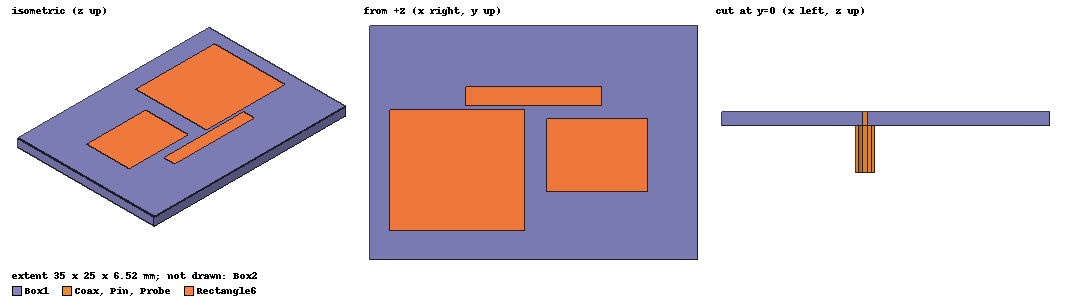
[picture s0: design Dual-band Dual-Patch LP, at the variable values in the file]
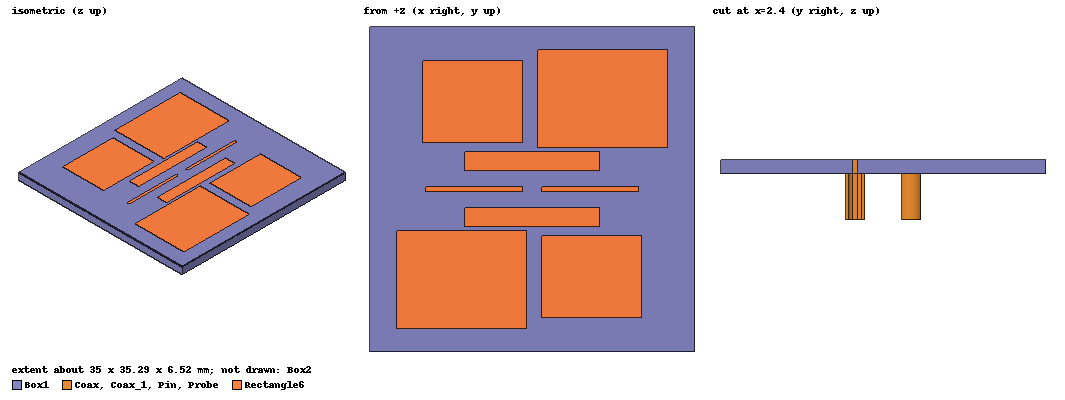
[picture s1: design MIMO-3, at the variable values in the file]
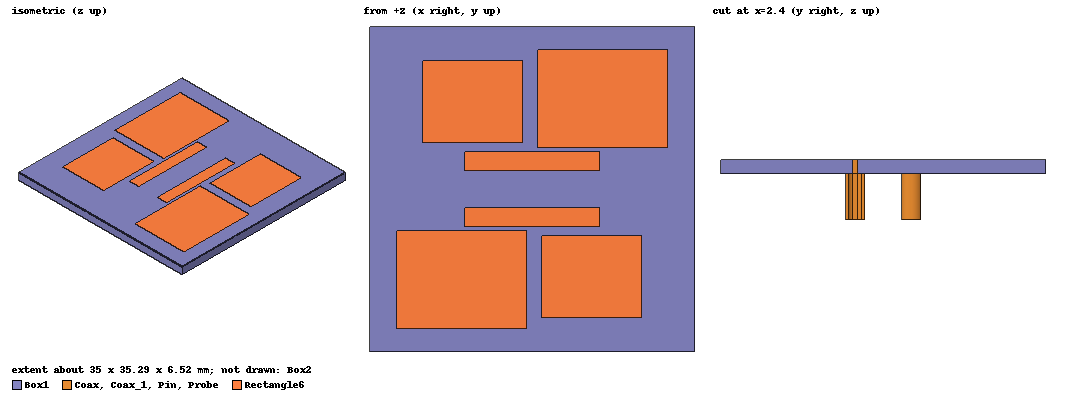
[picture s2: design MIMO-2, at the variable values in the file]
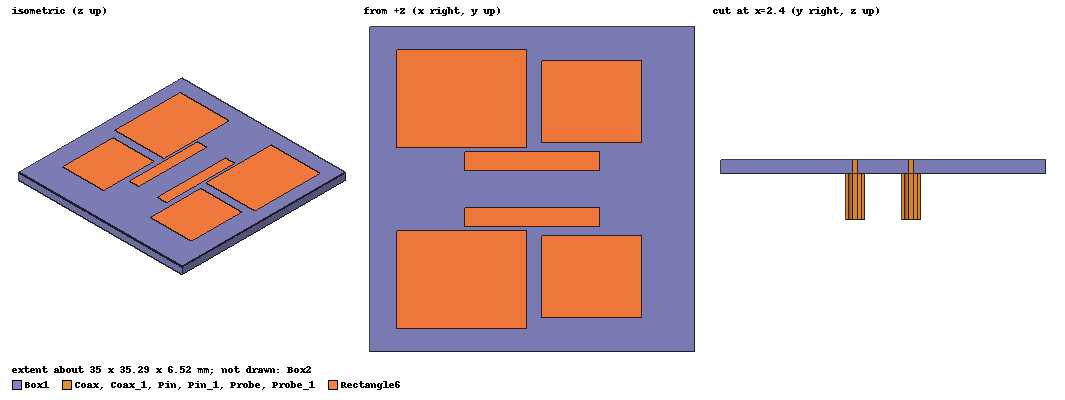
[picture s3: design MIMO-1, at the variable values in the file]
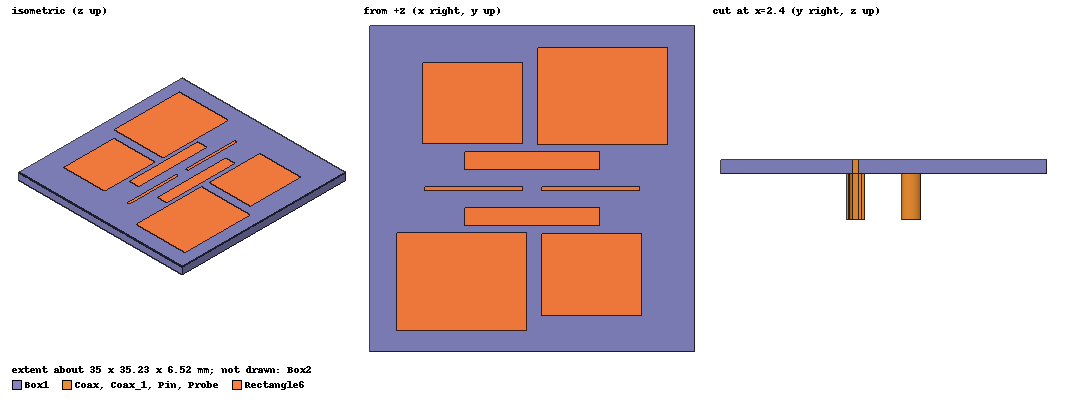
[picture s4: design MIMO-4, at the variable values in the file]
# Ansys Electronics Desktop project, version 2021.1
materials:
  vacuum: permittivity=1
  Taconic RF-35 (tm): permittivity=3.5 dielectric_loss_tangent=0.0018
  copper: permeability=0.999991 conductivity=58000000

design Dual-band Dual-Patch LP (HFSS, DrivenModal, model units mm)
options: Save_Adaptive_support_files
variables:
  Ws = 35mm
  Hs = (1.52/2) mm
  Wp = 2mm
  G = 2.2mm
  Lc = 8.6mm
  Hair = 0mm
  Ha = 0mm
  P = 13.5mm
  Wo = 10.8mm
  Hs1 = (1.52/2) mm
  Wo1 = 14.4mm
  S = 1mm
  Bo = 15mm
  Lp = 14.6mm
  gap = 0.5mm
  gx1 = 2.4mm
  gy1 = 1.4mm
  gx2 = 1.5mm
  gy2 = 1mm
  mov = 0mm
  L1 = 7.3mm
  L2 = 7.3mm
  g1 = 0mm
  g2 = 0mm
  cut = 3mm
  cut1 = 1.5mm
  Ls = 25mm
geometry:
  GND = rectangle(corner=(-Ws/2, -Ws/2, 0mm), x_size=Ws, y_size=Ls)
  Box1 [Taconic RF-35 (tm)] = box(corner=(-Ws/2, -Ws/2, Hair), size=(Ws, Ls, Hs))
  Coax [copper] = cylinder(axis=Z, base_centre=(G, 0mm, 0mm), radius=1mm, height=-5mm)
  Coax1 = cylinder(axis=Z, base_centre=(G, 0mm, 0mm), radius=0.7mm, height=-5mm)
  Pin [copper] = cylinder(axis=Z, base_centre=(G, 0mm, Hair), radius=0.3mm, height=-Hair-5mm)
  Coax.subtract(Coax1)
  Probe [copper] = cylinder(axis=Z, base_centre=(G, 0mm, Hair), radius=0.3mm, height=Hs+Hs)
  Feed = circle(normal=Z, centre=(G, 0mm, -5mm), radius=0.7mm)
  Box2 [vacuum] = box(corner=(-Ws/2-Bo, -Ws/2-Bo, -Bo), size=(Ws+2*Bo, Ls+2*Bo, 2*Hs+Hair+Ha+2*Bo))
  Circle1 = circle(normal=Z, centre=(G, 0mm, 0mm), radius=0.7mm)
  GND.subtract(Circle1)
  Box3 = box(corner=(-Ws/2, -Ws/2, Hair+Hs+Ha), size=(Ws, Ls, Hs1))
  Rectangle6 = rectangle(corner=(-Wo/2, -Wo/2, Hs+Hs1+Hair+Ha), x_size=Wo, y_size=Wo)
  Rectangle6.move(-Wo/2-gx1, -Wo/2-gy1, 0mm)
  Box1.unite(Box3)
  Rectangle10 = rectangle(corner=(-Wo1/2, -Wo1/2, Hs+Hs1+Hair+Ha), x_size=Wo1, y_size=Wo1)
  Rectangle10.move(-Wo1/2-gx2, Wo1/2+gy2, 0mm)
  Rectangle11 = rectangle(corner=(0, -Wp/2, Hs+Hs), x_size=-L1, y_size=Wp)
  Rectangle12 = rectangle(corner=(0, -Wp/2, Hs+Hs), x_size=L2, y_size=Wp)
  Rectangle13 = rectangle(corner=(0, -Wp/2-g1, Hs+Hs), x_size=-L1-g1, y_size=Wp+2*g1)
  Rectangle14 = rectangle(corner=(0, -Wp/2-g2, Hs+Hs), x_size=L2+g2, y_size=Wp+2*g2)
  Rectangle13.unite(Rectangle14)
  Rectangle15 = rectangle(corner=(-Wo/2, -Wo/2, Hs+Hs1+Hair+Ha), x_size=Wo, y_size=cut)
  Rectangle15.move(-Wo/2-gy1, -Wo/2-gx1, 0mm)
  Rectangle16 = rectangle(corner=(-Wo1/2, -Wo1/2, Hs+Hs1+Hair+Ha), x_size=Wo1, y_size=Wo1)
  Rectangle16.move(-Wo1/2-gx2, Wo1/2+gy2, 0mm)
  Rectangle10_2 = Rectangle16.duplicate_mirror(point=(0mm, 26mm, 0mm), normal=(1mm, 0mm, 0mm))
  [Rectangle16, Rectangle10_2].delete()
  Rectangle17 = rectangle(corner=(0, -Wp/2, Hs+Hs), x_size=-L1, y_size=Wp)
  Rectangle17.delete()
  Rectangle18 = rectangle(corner=(0, -Wp/2, Hs+Hs), x_size=L2, y_size=Wp)
  Rectangle18.delete()
  Rectangle19 = rectangle(corner=(0, -Wp/2-g1, Hs+Hs), x_size=-L1-g1, y_size=Wp+2*g1)
  Rectangle20 = rectangle(corner=(0, -Wp/2-g2, Hs+Hs), x_size=L2+g2, y_size=Wp+2*g2)
  Rectangle19.unite(Rectangle20)
  Rectangle19.delete()
  Rectangle15.mirror(point=(0mm, 21mm, 0mm), normal=(1mm, 0mm, 0mm))
  Rectangle15_1 = Rectangle15.duplicate_mirror(point=(13mm, 0mm, 0mm), normal=(0mm, 1mm, 0mm))
  Rectangle21 = rectangle(corner=(-Wo1/2, -Wo1/2, Hs+Hs1+Hair+Ha), x_size=Wo1, y_size=cut1)
  Rectangle21.move(-Wo1/2-gy2, -Wo1/2-gx2, 0mm)
  Rectangle21_1 = Rectangle21.duplicate_mirror(point=(-18mm, 0mm, 0mm), normal=(0mm, 1mm, 0mm))
  Rectangle6.unite(Rectangle10)
  Rectangle6.rotate(axis=Z, angle=90deg)
  Rectangle6.subtract(Rectangle13, Rectangle15, Rectangle15_1, Rectangle21, Rectangle21_1)
  Rectangle6.unite(Rectangle11, Rectangle12)
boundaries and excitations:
  FiniteCond1: Finite Conductivity Objects=GND UseMaterial Material=copper IsInternal
  Rad1: Radiation Objects=Box2
  FiniteCond3: Finite Conductivity Objects=Rectangle6 UseMaterial Material=copper IsInternal
  1: Lumped Port Objects=Feed Modes{Mode1{IntLine{middle of Feed.edge(1 of 1) -> middle of Pin.edge(1 of 2)} CharImp=Zpi RenormImp=50ohm}} Impedance=50ohm
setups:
  Setup1: HfssDriven Frequency=5.2GHz MaxDeltaS=0.02 MaximumPasses=20 MinimumPasses=1 MinimumConvergedPasses=1 PercentRefinement=30 BasisOrder=1 PortAccuracy=2 IESolverType=ACA
    sweep Sweep: 4.8GHz to 5.6GHz step 0.02GHz; Type=Discrete SaveFields
  Setup2: HfssDriven Frequency=6.8GHz MaxDeltaS=0.02 MaximumPasses=20 MinimumPasses=1 MinimumConvergedPasses=1 PercentRefinement=30 BasisOrder=1 PortAccuracy=2 IESolverType=ACA
    sweep Sweep: 6.4GHz to 7.2GHz step 0.02GHz; Type=Discrete SaveFields
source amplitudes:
  1:1: 1W 0deg
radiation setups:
  Infinite Sphere1: Infinite Sphere Theta=-180deg..180deg step 2deg Phi=-180deg..180deg step 2deg
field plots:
  Vector_Jsurf1: Jsurf over Rectangle6.face(#1988, #1201) on Setup1 : Sweep at Freq=5.1GHz Phase=45deg
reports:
  XY Plot 1: dB(S(1,1)) vs Freq on Setup1 : Sweep [Wo=all]; dB(S(1,1)) vs Freq on Setup2 : Sweep [Wo=10.4mm,10.8mm,11.2mm]; markers MY1 at y=-10
  5.2 GHz: dB(RealizedGainPhi), dB(RealizedGainTheta) vs Theta on Setup1 : Sweep, Infinite Sphere1 [Phi=0deg,90deg Freq=5.35GHz]; markers m1 at 0deg, m2 at -178deg
  Realized Gain Plot 1: dB(RealizedGainTotal) vs Freq on Setup1 : Sweep, Infinite Sphere1 [Phi=0deg Theta=0deg,180deg gx1=all]; markers m1 at 5.35GHz, m2 at 6.6GHz
  6.6 GHz: dB(RealizedGainPhi), dB(RealizedGainTheta) vs Theta on Setup1 : Sweep, Infinite Sphere1 [Phi=0deg,90deg Freq=6.6GHz]
  Gain Plot 2: dB(GainTotal) vs Phi, Theta on Setup1 : Sweep, Infinite Sphere1 [Freq=6.6GHz]
  Antenna Params Plot 1: dB(PeakRealizedGain) vs Freq on Setup1 : Sweep; dB(PeakRealizedGain) vs Freq on Setup2 : Sweep; markers m1 at 5.18GHz, MY1 at y=6.64615

design MIMO-3 (HFSS, DrivenModal, model units mm)
options: Save_Adaptive_support_files
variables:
  Ws = 35mm
  Hs = (1.52/2) mm
  Wp = 2mm
  G = 2.4mm
  Lc = 8.6mm
  Hair = 0mm
  Ha = 0mm
  P = 13.5mm
  Wo = 10.8mm
  Hs1 = (1.52/2) mm
  Wo1 = 14mm
  S = 1mm
  Bo = 15mm
  Lp = 14.6mm
  gap = 0.5mm
  gx1 = 2mm
  gy1 = 1mm
  gx2 = 1.5mm
  gy2 = 0.6mm
  mov = 0mm
  L1 = 7.3mm
  L2 = 7.3mm
  g1 = 0mm
  g2 = 0mm
  cut = 2mm
  cut1 = 3.5mm
  Ls = Ws
  mo = 3mm
  aa = 0.5mm
  bb = 21mm
  off = 0.5mm
  rv = 0.15mm
  bb_c = 1mm
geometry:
  GND = rectangle(corner=(-Ws/2, -Ws/2, 0mm), x_size=Ws, y_size=Ls)
  Box1 [Taconic RF-35 (tm)] = box(corner=(-Ws/2, -Ws/2, Hair), size=(Ws, Ls, Hs))
  Coax [copper] = cylinder(axis=Z, base_centre=(G, 0mm, 0mm), radius=1mm, height=-5mm)
  Coax1 = cylinder(axis=Z, base_centre=(G, 0mm, 0mm), radius=0.7mm, height=-5mm)
  Pin [copper] = cylinder(axis=Z, base_centre=(G, 0mm, Hair), radius=0.3mm, height=-Hair-5mm)
  Coax.subtract(Coax1)
  Probe [copper] = cylinder(axis=Z, base_centre=(G, 0mm, Hair), radius=0.3mm, height=Hs+Hs)
  Feed = circle(normal=Z, centre=(G, 0mm, -5mm), radius=0.7mm)
  Box2 [vacuum] = box(corner=(-Ws/2-Bo, -Ws/2-Bo, -Bo), size=(Ws+2*Bo, Ls+2*Bo, 2*Hs+Hair+Ha+2*Bo))
  Circle1 = circle(normal=Z, centre=(G, 0mm, 0mm), radius=0.7mm)
  Box3 = box(corner=(-Ws/2, -Ws/2, Hair+Hs+Ha), size=(Ws, Ls, Hs1))
  Rectangle6 = rectangle(corner=(-Wo/2, -Wo/2, Hs+Hs1+Hair+Ha), x_size=Wo, y_size=Wo)
  Rectangle6.move(-Wo/2-gx1, -Wo/2-gy1, 0mm)
  Box1.unite(Box3)
  Rectangle10 = rectangle(corner=(-Wo1/2, -Wo1/2, Hs+Hs1+Hair+Ha), x_size=Wo1, y_size=Wo1)
  Rectangle10.move(-Wo1/2-gx2, Wo1/2+gy2, 0mm)
  Rectangle11 = rectangle(corner=(0, -Wp/2, Hs+Hs), x_size=-L1, y_size=Wp)
  Rectangle12 = rectangle(corner=(0, -Wp/2, Hs+Hs), x_size=L2, y_size=Wp)
  Rectangle13 = rectangle(corner=(0, -Wp/2-g1, Hs+Hs), x_size=-L1-g1, y_size=Wp+2*g1)
  Rectangle14 = rectangle(corner=(0, -Wp/2-g2, Hs+Hs), x_size=L2+g2, y_size=Wp+2*g2)
  Rectangle13.unite(Rectangle14)
  Rectangle15 = rectangle(corner=(-Wo/2, -Wo/2, Hs+Hs1+Hair+Ha), x_size=Wo, y_size=cut)
  Rectangle15.move(-Wo/2-gy1, -Wo/2-gx1, 0mm)
  Rectangle15.mirror(point=(0mm, 21mm, 0mm), normal=(1mm, 0mm, 0mm))
  Rectangle15_1 = Rectangle15.duplicate_mirror(point=(13mm, 0mm, 0mm), normal=(0mm, 1mm, 0mm))
  Rectangle21 = rectangle(corner=(-Wo1/2, -Wo1/2, Hs+Hs1+Hair+Ha), x_size=Wo1, y_size=cut1)
  Rectangle21.move(-Wo1/2-gy2, -Wo1/2-gx2, 0mm)
  Rectangle21_1 = Rectangle21.duplicate_mirror(point=(-18mm, 0mm, 0mm), normal=(0mm, 1mm, 0mm))
  Rectangle6.unite(Rectangle10)
  Rectangle6.rotate(axis=Z, angle=90deg)
  Rectangle6.subtract(Rectangle13, Rectangle15, Rectangle15_1, Rectangle21, Rectangle21_1)
  Rectangle6.unite(Rectangle11, Rectangle12)
  [Rectangle6, Coax, Pin, Probe, Circle1, Feed].move(0mm, -mo, 0mm)
  Rectangle6_1 = Rectangle6.duplicate_mirror(point=(-20mm, 0mm, 0mm), normal=(0mm, 1mm, 0mm))
  Circle1_1 = Circle1.duplicate_mirror(point=(-20mm, 0mm, 0mm), normal=(0mm, 1mm, 0mm))
  Coax_1 [copper] = Coax.duplicate_mirror(point=(-20mm, 0mm, 0mm), normal=(0mm, 1mm, 0mm))
  Pin_1 [copper] = Pin.duplicate_mirror(point=(-20mm, 0mm, 0mm), normal=(0mm, 1mm, 0mm))
  Probe_1 [copper] = Probe.duplicate_mirror(point=(-20mm, 0mm, 0mm), normal=(0mm, 1mm, 0mm))
  Feed_1 = Feed.duplicate_mirror(point=(-20mm, 0mm, 0mm), normal=(0mm, 1mm, 0mm))
  [Coax_1, Pin_1, Probe_1].mirror(point=(0mm, 30mm, 0mm), normal=(-1mm, 0mm, 0mm))
  Rectangle6_1.mirror(point=(0mm, 25mm, 0mm), normal=(-1mm, 0mm, 0mm))
  Feed_1.mirror(point=(0mm, 30mm, 0mm), normal=(-1mm, 0mm, 0mm))
  Circle1_1.mirror(point=(0mm, 25mm, 0mm), normal=(-1mm, 0mm, 0mm))
  GND.subtract(Circle1, Circle1_1)
  Rectangle22 = rectangle(corner=(-aa/2, -bb/2, 2*Hs), x_size=aa, y_size=bb/2)
  Rectangle22.rotate(axis=Z, angle=90deg)
  Cylinder1 [copper] = cylinder(axis=Z, base_centre=(0mm, -bb/2+off, 0mm), radius=rv, height=2*Hs)
  Cylinder1.rotate(axis=Z, angle=90deg)
  [Cylinder1, Rectangle22].move(bb_c, 0mm, 0mm)
  Rectangle22_1 = Rectangle22.duplicate_around_axis(axis=Z, angle=180deg, total=2)
  Cylinder1_1 [copper] = Cylinder1.duplicate_around_axis(axis=Z, angle=180deg, total=2)
  Rectangle6.unite(Rectangle6_1, Rectangle22, Rectangle22_1)
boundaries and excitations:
  FiniteCond1: Finite Conductivity Objects=GND UseMaterial Material=copper IsInternal
  Rad1: Radiation Objects=Box2
  FiniteCond3: Finite Conductivity Objects=Rectangle6 UseMaterial Material=copper IsInternal
  1: Lumped Port Objects=Feed Modes{Mode1{IntLine{middle of Feed.edge(1 of 1) -> middle of Pin.edge(1 of 2)} CharImp=Zpi RenormImp=50ohm}} Impedance=50ohm
  2: Lumped Port Objects=Feed_1 Modes{Mode1{IntLine{middle of Feed_1.edge(1 of 1) -> middle of Pin_1.edge(1 of 2)} CharImp=Zpi RenormImp=50ohm}} Impedance=50ohm
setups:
  Setup1: HfssDriven Frequency=5.2GHz MaxDeltaS=0.02 MaximumPasses=20 MinimumPasses=1 MinimumConvergedPasses=1 PercentRefinement=30 BasisOrder=1 PortAccuracy=2 IESolverType=ACA
    sweep Sweep: 4.8GHz to 7.2GHz step 0.02GHz; Type=Discrete SaveFields
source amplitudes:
  1:1: 1W 0deg
  2:1: 0W 0deg
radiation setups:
  Infinite Sphere1: Infinite Sphere Theta=-180deg..180deg step 2deg Phi=-180deg..180deg step 2deg
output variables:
  ECC = (mag(conjg(S(1,1))*S(1,2)+conjg(S(2,1))*S(2,2)))^2/((1-mag(S(1,1))^2-mag(S(2,1))^2)*(1-mag(S(2,2))^2-mag(S(1,2))^2))
  TARC = sqrt(((S(1,1)+S(1,2))^2+(S(2,1)+S(2,2))^2)/2)
  DG = 10*(sqrt(1-ECC^2))
  MEG1 = (1-(mag(S(1,1)))^2-(mag(S(1,2)))^2)/2
  MEG2 = (1-(mag(S(1,2)))^2-(mag(S(2,2)))^2)/2
  CCL = -ln((1 - (mag(S(1,1))^2 + mag(S(1,2))^2))*(1 - (mag(S(2,2))^2 + mag(S(2,1))^2)) - (conjg(S(2,2))*S(2,1) + conjg(S(1,2))*S(1,1))*(conjg(S(1,1))*S(1,2) + conjg(S(2,1))*S(2,2)))/ln(2)
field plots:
  Mag_Jsurf2: Jsurf over Rectangle6.face(all 8) on Setup1 : Sweep at Freq=5.2GHz Phase=0deg
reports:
  XY Plot 1: dB(S(1,1)), dB(S(2,1)) vs Freq on Setup1 : Sweep [aa=all]; markers m1 at 5.28GHz, m2 at 5.3GHz, m3 at 6.7GHz, MY1 at y=-10
  5.3 GHz: dB(RealizedGainPhi), dB(RealizedGainTheta) vs Theta on Setup1 : Sweep, Infinite Sphere1 [Phi=0deg,90deg Freq=5.3GHz]; markers m1 at 0deg, m2 at -178deg
  Realized Gain Plot 1: dB(RealizedGainTotal) vs Freq on Setup1 : Sweep, Infinite Sphere1 [Phi=0deg Theta=0deg]; markers MY1 at y=4.9641
  Gain Plot 2: dB(GainTotal) vs Phi, Theta on Setup1 : Sweep, Infinite Sphere1 [Freq=5.2GHz]
  Antenna Params Plot 1: dB(PeakRealizedGain) vs Freq on Setup1 : Sweep; markers MY1 at y=6.72821
  6.7 GHz: dB(RealizedGainPhi), dB(RealizedGainTheta) vs Theta on Setup1 : Sweep, Infinite Sphere1 [Phi=0deg,90deg Freq=6.7GHz]
  ECC: ECC vs Freq on Setup1 : Sweep
  Gain Plot 3: dB(GainPhi), dB(GainTheta) vs Theta on Setup1 : Sweep, Infinite Sphere1 [Phi=0deg,90deg Freq=5.3GHz]
  Gain Plot 4: dB(GainPhi), dB(GainTheta) vs Theta on Setup1 : Sweep, Infinite Sphere1 [Phi=0deg,90deg Freq=6.7GHz]
  Antenna Params Plot 2: RadiationEfficiency vs Freq on Setup1 : Sweep
  DIVERSITY GAIN: DG vs Freq on Setup1 : Sweep
  CHANNEL CAPACITY LOSS: mag(CCL) vs Freq on Setup1 : Sweep
  MEG: dB10(MEG1), dB10(MEG2) vs Freq on Setup1 : Sweep
  TARC: dB20(TARC) vs Freq on Setup1 : Sweep

design MIMO-2 (HFSS, DrivenModal, model units mm)
options: Save_Adaptive_support_files
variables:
  Ws = 35mm
  Hs = (1.52/2) mm
  Wp = 2mm
  G = 2.4mm
  Lc = 8.6mm
  Hair = 0mm
  Ha = 0mm
  P = 13.5mm
  Wo = 10.8mm
  Hs1 = (1.52/2) mm
  Wo1 = 14mm
  S = 1mm
  Bo = 15mm
  Lp = 14.6mm
  gap = 0.5mm
  gx1 = 2mm
  gy1 = 1mm
  gx2 = 1.5mm
  gy2 = 0.6mm
  mov = 0mm
  L1 = 7.3mm
  L2 = 7.3mm
  g1 = 0mm
  g2 = 0mm
  cut = 2mm
  cut1 = 3.5mm
  Ls = Ws
  mo = 3mm
  aa = 0.5mm
  bb = 21mm
  off = 0.5mm
  rv = 0.15mm
  bb_c = 1mm
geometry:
  GND = rectangle(corner=(-Ws/2, -Ws/2, 0mm), x_size=Ws, y_size=Ls)
  Box1 [Taconic RF-35 (tm)] = box(corner=(-Ws/2, -Ws/2, Hair), size=(Ws, Ls, Hs))
  Coax [copper] = cylinder(axis=Z, base_centre=(G, 0mm, 0mm), radius=1mm, height=-5mm)
  Coax1 = cylinder(axis=Z, base_centre=(G, 0mm, 0mm), radius=0.7mm, height=-5mm)
  Pin [copper] = cylinder(axis=Z, base_centre=(G, 0mm, Hair), radius=0.3mm, height=-Hair-5mm)
  Coax.subtract(Coax1)
  Probe [copper] = cylinder(axis=Z, base_centre=(G, 0mm, Hair), radius=0.3mm, height=Hs+Hs)
  Feed = circle(normal=Z, centre=(G, 0mm, -5mm), radius=0.7mm)
  Box2 [vacuum] = box(corner=(-Ws/2-Bo, -Ws/2-Bo, -Bo), size=(Ws+2*Bo, Ls+2*Bo, 2*Hs+Hair+Ha+2*Bo))
  Circle1 = circle(normal=Z, centre=(G, 0mm, 0mm), radius=0.7mm)
  Box3 = box(corner=(-Ws/2, -Ws/2, Hair+Hs+Ha), size=(Ws, Ls, Hs1))
  Rectangle6 = rectangle(corner=(-Wo/2, -Wo/2, Hs+Hs1+Hair+Ha), x_size=Wo, y_size=Wo)
  Rectangle6.move(-Wo/2-gx1, -Wo/2-gy1, 0mm)
  Box1.unite(Box3)
  Rectangle10 = rectangle(corner=(-Wo1/2, -Wo1/2, Hs+Hs1+Hair+Ha), x_size=Wo1, y_size=Wo1)
  Rectangle10.move(-Wo1/2-gx2, Wo1/2+gy2, 0mm)
  Rectangle11 = rectangle(corner=(0, -Wp/2, Hs+Hs), x_size=-L1, y_size=Wp)
  Rectangle12 = rectangle(corner=(0, -Wp/2, Hs+Hs), x_size=L2, y_size=Wp)
  Rectangle13 = rectangle(corner=(0, -Wp/2-g1, Hs+Hs), x_size=-L1-g1, y_size=Wp+2*g1)
  Rectangle14 = rectangle(corner=(0, -Wp/2-g2, Hs+Hs), x_size=L2+g2, y_size=Wp+2*g2)
  Rectangle13.unite(Rectangle14)
  Rectangle15 = rectangle(corner=(-Wo/2, -Wo/2, Hs+Hs1+Hair+Ha), x_size=Wo, y_size=cut)
  Rectangle15.move(-Wo/2-gy1, -Wo/2-gx1, 0mm)
  Rectangle15.mirror(point=(0mm, 21mm, 0mm), normal=(1mm, 0mm, 0mm))
  Rectangle15_1 = Rectangle15.duplicate_mirror(point=(13mm, 0mm, 0mm), normal=(0mm, 1mm, 0mm))
  Rectangle21 = rectangle(corner=(-Wo1/2, -Wo1/2, Hs+Hs1+Hair+Ha), x_size=Wo1, y_size=cut1)
  Rectangle21.move(-Wo1/2-gy2, -Wo1/2-gx2, 0mm)
  Rectangle21_1 = Rectangle21.duplicate_mirror(point=(-18mm, 0mm, 0mm), normal=(0mm, 1mm, 0mm))
  Rectangle6.unite(Rectangle10)
  Rectangle6.rotate(axis=Z, angle=90deg)
  Rectangle6.subtract(Rectangle13, Rectangle15, Rectangle15_1, Rectangle21, Rectangle21_1)
  Rectangle6.unite(Rectangle11, Rectangle12)
  [Rectangle6, Coax, Pin, Probe, Circle1, Feed].move(0mm, -mo, 0mm)
  Rectangle6_1 = Rectangle6.duplicate_mirror(point=(-20mm, 0mm, 0mm), normal=(0mm, 1mm, 0mm))
  Circle1_1 = Circle1.duplicate_mirror(point=(-20mm, 0mm, 0mm), normal=(0mm, 1mm, 0mm))
  Coax_1 [copper] = Coax.duplicate_mirror(point=(-20mm, 0mm, 0mm), normal=(0mm, 1mm, 0mm))
  Pin_1 [copper] = Pin.duplicate_mirror(point=(-20mm, 0mm, 0mm), normal=(0mm, 1mm, 0mm))
  Probe_1 [copper] = Probe.duplicate_mirror(point=(-20mm, 0mm, 0mm), normal=(0mm, 1mm, 0mm))
  Feed_1 = Feed.duplicate_mirror(point=(-20mm, 0mm, 0mm), normal=(0mm, 1mm, 0mm))
  [Coax_1, Pin_1, Probe_1].mirror(point=(0mm, 30mm, 0mm), normal=(-1mm, 0mm, 0mm))
  Rectangle6_1.mirror(point=(0mm, 25mm, 0mm), normal=(-1mm, 0mm, 0mm))
  Feed_1.mirror(point=(0mm, 30mm, 0mm), normal=(-1mm, 0mm, 0mm))
  Circle1_1.mirror(point=(0mm, 25mm, 0mm), normal=(-1mm, 0mm, 0mm))
  GND.subtract(Circle1, Circle1_1)
  Rectangle6.unite(Rectangle6_1)
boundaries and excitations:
  FiniteCond1: Finite Conductivity Objects=GND UseMaterial Material=copper IsInternal
  Rad1: Radiation Objects=Box2
  FiniteCond3: Finite Conductivity Objects=Rectangle6 UseMaterial Material=copper IsInternal
  1: Lumped Port Objects=Feed Modes{Mode1{IntLine{middle of Feed.edge(1 of 1) -> middle of Pin.edge(1 of 2)} CharImp=Zpi RenormImp=50ohm}} Impedance=50ohm
  2: Lumped Port Objects=Feed_1 Modes{Mode1{IntLine{middle of Feed_1.edge(1 of 1) -> middle of Pin_1.edge(1 of 2)} CharImp=Zpi RenormImp=50ohm}} Impedance=50ohm
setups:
  Setup1: HfssDriven Frequency=5.2GHz MaxDeltaS=0.02 MaximumPasses=20 MinimumPasses=1 MinimumConvergedPasses=1 PercentRefinement=30 BasisOrder=1 PortAccuracy=2 IESolverType=ACA
    sweep Sweep: 4.8GHz to 6GHz step 0.02GHz; Type=Discrete SaveFields
  Setup2: HfssDriven Frequency=6.6GHz MaxDeltaS=0.02 MaximumPasses=20 MinimumPasses=1 MinimumConvergedPasses=1 PercentRefinement=30 BasisOrder=1 PortAccuracy=2
    sweep Sweep: 6GHz to 7.2GHz step 0.02GHz; Type=Discrete SaveFields
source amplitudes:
  1:1: 1W 0deg
  2:1: 0W 0deg
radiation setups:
  Infinite Sphere1: Infinite Sphere Theta=-180deg..180deg step 2deg Phi=-180deg..180deg step 2deg
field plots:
  Mag_Jsurf2: Jsurf over Rectangle6.face(all 6) on Setup1 : Sweep at Freq=5.2GHz Phase=0deg
  Mag_Jsurf1: Jsurf over Rectangle6.face(all 6) on Setup2 : Sweep at Freq=6.8GHz Phase=0deg
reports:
  XY Plot 1: dB(S(1,1)), dB(S(2,1)) vs Freq on Setup1 : Sweep; dB(S(1,1)) vs Freq on Setup2 : Sweep; dB(S(2,1)) vs Freq on Setup2 : Sweep [bb_c=all]; markers m1 at 5.28GHz, m2 at 6.76GHz, MY1 at y=-10
  5.1 GHz: dB(RealizedGainPhi), dB(RealizedGainTheta) vs Theta on Setup1 : Sweep, Infinite Sphere1 [Phi=0deg,90deg Freq=5.28GHz]; markers m1 at 0deg, m2 at -178deg
  Realized Gain Plot 1: dB(RealizedGainTotal) vs Freq on Setup1 : Sweep, Infinite Sphere1 [Phi=0deg Theta=0deg]; dB(RealizedGainTotal) vs Freq on Setup2 : Sweep, Infinite Sphere1 [Phi=0deg Theta=0deg]
  6.6 GHz: dB(RealizedGainPhi), dB(RealizedGainTheta) vs Theta on Setup2 : Sweep, Infinite Sphere1 [Phi=0deg,90deg Freq=6.8GHz]
  Gain Plot 2: dB(GainTotal) vs Phi, Theta on Setup1 : Sweep, Infinite Sphere1 [Freq=5.2GHz]

design MIMO-1 (HFSS, DrivenModal, model units mm)
options: Save_Adaptive_support_files
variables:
  Ws = 35mm
  Hs = (1.52/2) mm
  Wp = 2mm
  G = 2.4mm
  Lc = 8.6mm
  Hair = 0mm
  Ha = 0mm
  P = 13.5mm
  Wo = 10.8mm
  Hs1 = (1.52/2) mm
  Wo1 = 14mm
  S = 1mm
  Bo = 15mm
  Lp = 14.6mm
  gap = 0.5mm
  gx1 = 2mm
  gy1 = 1mm
  gx2 = 1.5mm
  gy2 = 0.6mm
  mov = 0mm
  L1 = 7.3mm
  L2 = 7.3mm
  g1 = 0mm
  g2 = 0mm
  cut = 2mm
  cut1 = 3.5mm
  Ls = Ws
  mo = 3mm
  aa = 0.5mm
  bb = 21mm
  off = 0.5mm
  rv = 0.15mm
  bb_c = 1mm
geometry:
  GND = rectangle(corner=(-Ws/2, -Ws/2, 0mm), x_size=Ws, y_size=Ls)
  Box1 [Taconic RF-35 (tm)] = box(corner=(-Ws/2, -Ws/2, Hair), size=(Ws, Ls, Hs))
  Coax [copper] = cylinder(axis=Z, base_centre=(G, 0mm, 0mm), radius=1mm, height=-5mm)
  Coax1 = cylinder(axis=Z, base_centre=(G, 0mm, 0mm), radius=0.7mm, height=-5mm)
  Pin [copper] = cylinder(axis=Z, base_centre=(G, 0mm, Hair), radius=0.3mm, height=-Hair-5mm)
  Coax.subtract(Coax1)
  Probe [copper] = cylinder(axis=Z, base_centre=(G, 0mm, Hair), radius=0.3mm, height=Hs+Hs)
  Feed = circle(normal=Z, centre=(G, 0mm, -5mm), radius=0.7mm)
  Box2 [vacuum] = box(corner=(-Ws/2-Bo, -Ws/2-Bo, -Bo), size=(Ws+2*Bo, Ls+2*Bo, 2*Hs+Hair+Ha+2*Bo))
  Circle1 = circle(normal=Z, centre=(G, 0mm, 0mm), radius=0.7mm)
  Box3 = box(corner=(-Ws/2, -Ws/2, Hair+Hs+Ha), size=(Ws, Ls, Hs1))
  Rectangle6 = rectangle(corner=(-Wo/2, -Wo/2, Hs+Hs1+Hair+Ha), x_size=Wo, y_size=Wo)
  Rectangle6.move(-Wo/2-gx1, -Wo/2-gy1, 0mm)
  Box1.unite(Box3)
  Rectangle10 = rectangle(corner=(-Wo1/2, -Wo1/2, Hs+Hs1+Hair+Ha), x_size=Wo1, y_size=Wo1)
  Rectangle10.move(-Wo1/2-gx2, Wo1/2+gy2, 0mm)
  Rectangle11 = rectangle(corner=(0, -Wp/2, Hs+Hs), x_size=-L1, y_size=Wp)
  Rectangle12 = rectangle(corner=(0, -Wp/2, Hs+Hs), x_size=L2, y_size=Wp)
  Rectangle13 = rectangle(corner=(0, -Wp/2-g1, Hs+Hs), x_size=-L1-g1, y_size=Wp+2*g1)
  Rectangle14 = rectangle(corner=(0, -Wp/2-g2, Hs+Hs), x_size=L2+g2, y_size=Wp+2*g2)
  Rectangle13.unite(Rectangle14)
  Rectangle15 = rectangle(corner=(-Wo/2, -Wo/2, Hs+Hs1+Hair+Ha), x_size=Wo, y_size=cut)
  Rectangle15.move(-Wo/2-gy1, -Wo/2-gx1, 0mm)
  Rectangle15.mirror(point=(0mm, 21mm, 0mm), normal=(1mm, 0mm, 0mm))
  Rectangle15_1 = Rectangle15.duplicate_mirror(point=(13mm, 0mm, 0mm), normal=(0mm, 1mm, 0mm))
  Rectangle21 = rectangle(corner=(-Wo1/2, -Wo1/2, Hs+Hs1+Hair+Ha), x_size=Wo1, y_size=cut1)
  Rectangle21.move(-Wo1/2-gy2, -Wo1/2-gx2, 0mm)
  Rectangle21_1 = Rectangle21.duplicate_mirror(point=(-18mm, 0mm, 0mm), normal=(0mm, 1mm, 0mm))
  Rectangle6.unite(Rectangle10)
  Rectangle6.rotate(axis=Z, angle=90deg)
  Rectangle6.subtract(Rectangle13, Rectangle15, Rectangle15_1, Rectangle21, Rectangle21_1)
  Rectangle6.unite(Rectangle11, Rectangle12)
  [Rectangle6, Coax, Pin, Probe, Circle1, Feed].move(0mm, -mo, 0mm)
  Rectangle6_1 = Rectangle6.duplicate_mirror(point=(-20mm, 0mm, 0mm), normal=(0mm, 1mm, 0mm))
  Circle1_1 = Circle1.duplicate_mirror(point=(-20mm, 0mm, 0mm), normal=(0mm, 1mm, 0mm))
  Coax_1 [copper] = Coax.duplicate_mirror(point=(-20mm, 0mm, 0mm), normal=(0mm, 1mm, 0mm))
  Pin_1 [copper] = Pin.duplicate_mirror(point=(-20mm, 0mm, 0mm), normal=(0mm, 1mm, 0mm))
  Probe_1 [copper] = Probe.duplicate_mirror(point=(-20mm, 0mm, 0mm), normal=(0mm, 1mm, 0mm))
  Feed_1 = Feed.duplicate_mirror(point=(-20mm, 0mm, 0mm), normal=(0mm, 1mm, 0mm))
  GND.subtract(Circle1, Circle1_1)
  Rectangle6.unite(Rectangle6_1)
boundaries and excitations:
  FiniteCond1: Finite Conductivity Objects=GND UseMaterial Material=copper IsInternal
  Rad1: Radiation Objects=Box2
  FiniteCond3: Finite Conductivity Objects=Rectangle6 UseMaterial Material=copper IsInternal
  1: Lumped Port Objects=Feed Modes{Mode1{IntLine{middle of Feed.edge(1 of 1) -> middle of Pin.edge(1 of 2)} CharImp=Zpi RenormImp=50ohm}} Impedance=50ohm
  2: Lumped Port Objects=Feed_1 Modes{Mode1{IntLine{middle of Feed_1.edge(1 of 1) -> middle of Pin_1.edge(1 of 2)} CharImp=Zpi RenormImp=50ohm}} Impedance=50ohm
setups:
  Setup1: HfssDriven Frequency=5.2GHz MaxDeltaS=0.02 MaximumPasses=20 MinimumPasses=1 MinimumConvergedPasses=1 PercentRefinement=30 BasisOrder=1 PortAccuracy=2 IESolverType=ACA
    sweep Sweep: 4.8GHz to 7.2GHz step 0.02GHz; Type=Discrete SaveFields
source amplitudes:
  1:1: 1W 0deg
  2:1: 0W 0deg
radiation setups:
  Infinite Sphere1: Infinite Sphere Theta=-180deg..180deg step 2deg Phi=-180deg..180deg step 2deg
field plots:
  Mag_Jsurf2: Jsurf over Rectangle6.face(all 6) on Setup1 : Sweep at Freq=5.2GHz Phase=0deg
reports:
  XY Plot 1: dB(S(1,1)), dB(S(2,1)) vs Freq on Setup1 : Sweep; markers m1 at 5.28GHz, m2 at 5.38GHz, m3 at 6.64GHz, m4 at 6.82GHz, MY1 at y=-10
  5.1 GHz: dB(RealizedGainPhi), dB(RealizedGainTheta) vs Theta on Setup1 : Sweep, Infinite Sphere1 [Phi=0deg,90deg Freq=5.28GHz]; markers m1 at 0deg, m2 at -178deg
  Realized Gain Plot 1: dB(RealizedGainTotal) vs Freq on Setup1 : Sweep, Infinite Sphere1 [Phi=0deg Theta=0deg]
  Gain Plot 2: dB(GainTotal) vs Phi, Theta on Setup1 : Sweep, Infinite Sphere1 [Freq=5.2GHz]

design MIMO-4 (HFSS, DrivenModal, model units mm)
options: Save_Adaptive_support_files
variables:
  Ws = 35mm
  Hs = (1.52/2) mm
  Wp = 2mm
  G = 2.4mm
  Lc = 8.6mm
  Hair = 0mm
  Ha = 0mm
  P = 13.5mm
  Wo = 10.8mm
  Hs1 = (1.52/2) mm
  Wo1 = 14mm
  S = 1mm
  Bo = 15mm
  Lp = 14.6mm
  gap = 0.5mm
  gx1 = 1.8mm
  gy1 = 1mm
  gx2 = 1.7mm
  gy2 = 0.6mm
  mov = 0mm
  L1 = 7.3mm
  L2 = 7.3mm
  g1 = 0mm
  g2 = 0mm
  cut = 2mm
  cut1 = 3.5mm
  Ls = Ws
  mo = 3mm
  aa = 0.5mm
  bb = 21mm
  off = 0.5mm
  rv = 0.15mm
  bb_c = 1mm
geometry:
  GND = rectangle(corner=(-Ws/2, -Ws/2, 0mm), x_size=Ws, y_size=Ls)
  Box1 [Taconic RF-35 (tm)] = box(corner=(-Ws/2, -Ws/2, Hair), size=(Ws, Ls, Hs))
  Coax [copper] = cylinder(axis=Z, base_centre=(G, 0mm, 0mm), radius=1mm, height=-5mm)
  Coax1 = cylinder(axis=Z, base_centre=(G, 0mm, 0mm), radius=0.7mm, height=-5mm)
  Pin [copper] = cylinder(axis=Z, base_centre=(G, 0mm, Hair), radius=0.3mm, height=-Hair-5mm)
  Coax.subtract(Coax1)
  Probe [copper] = cylinder(axis=Z, base_centre=(G, 0mm, Hair), radius=0.3mm, height=Hs+Hs)
  Feed = circle(normal=Z, centre=(G, 0mm, -5mm), radius=0.7mm)
  Box2 [vacuum] = box(corner=(-Ws/2-Bo, -Ws/2-Bo, -Bo), size=(Ws+2*Bo, Ls+2*Bo, 2*Hs+Hair+Ha+2*Bo))
  Circle1 = circle(normal=Z, centre=(G, 0mm, 0mm), radius=0.7mm)
  Box3 = box(corner=(-Ws/2, -Ws/2, Hair+Hs+Ha), size=(Ws, Ls, Hs1))
  Rectangle6 = rectangle(corner=(-Wo/2, -Wo/2, Hs+Hs1+Hair+Ha), x_size=Wo, y_size=Wo)
  Rectangle6.move(-Wo/2-gx1, -Wo/2-gy1, 0mm)
  Box1.unite(Box3)
  Rectangle10 = rectangle(corner=(-Wo1/2, -Wo1/2, Hs+Hs1+Hair+Ha), x_size=Wo1, y_size=Wo1)
  Rectangle10.move(-Wo1/2-gx2, Wo1/2+gy2, 0mm)
  Rectangle11 = rectangle(corner=(0, -Wp/2, Hs+Hs), x_size=-L1, y_size=Wp)
  Rectangle12 = rectangle(corner=(0, -Wp/2, Hs+Hs), x_size=L2, y_size=Wp)
  Rectangle13 = rectangle(corner=(0, -Wp/2-g1, Hs+Hs), x_size=-L1-g1, y_size=Wp+2*g1)
  Rectangle14 = rectangle(corner=(0, -Wp/2-g2, Hs+Hs), x_size=L2+g2, y_size=Wp+2*g2)
  Rectangle13.unite(Rectangle14)
  Rectangle15 = rectangle(corner=(-Wo/2, -Wo/2, Hs+Hs1+Hair+Ha), x_size=Wo, y_size=cut)
  Rectangle15.move(-Wo/2-gy1, -Wo/2-gx1, 0mm)
  Rectangle15.mirror(point=(0mm, 21mm, 0mm), normal=(1mm, 0mm, 0mm))
  Rectangle15_1 = Rectangle15.duplicate_mirror(point=(13mm, 0mm, 0mm), normal=(0mm, 1mm, 0mm))
  Rectangle21 = rectangle(corner=(-Wo1/2, -Wo1/2, Hs+Hs1+Hair+Ha), x_size=Wo1, y_size=cut1)
  Rectangle21.move(-Wo1/2-gy2, -Wo1/2-gx2, 0mm)
  Rectangle21_1 = Rectangle21.duplicate_mirror(point=(-18mm, 0mm, 0mm), normal=(0mm, 1mm, 0mm))
  Rectangle6.unite(Rectangle10)
  Rectangle6.rotate(axis=Z, angle=90deg)
  Rectangle6.subtract(Rectangle13, Rectangle15, Rectangle15_1, Rectangle21, Rectangle21_1)
  Rectangle6.unite(Rectangle11, Rectangle12)
  [Rectangle6, Coax, Pin, Probe, Circle1, Feed].move(0mm, -mo, 0mm)
  Rectangle6_1 = Rectangle6.duplicate_mirror(point=(-20mm, 0mm, 0mm), normal=(0mm, 1mm, 0mm))
  Circle1_1 = Circle1.duplicate_mirror(point=(-20mm, 0mm, 0mm), normal=(0mm, 1mm, 0mm))
  Coax_1 [copper] = Coax.duplicate_mirror(point=(-20mm, 0mm, 0mm), normal=(0mm, 1mm, 0mm))
  Pin_1 [copper] = Pin.duplicate_mirror(point=(-20mm, 0mm, 0mm), normal=(0mm, 1mm, 0mm))
  Probe_1 [copper] = Probe.duplicate_mirror(point=(-20mm, 0mm, 0mm), normal=(0mm, 1mm, 0mm))
  Feed_1 = Feed.duplicate_mirror(point=(-20mm, 0mm, 0mm), normal=(0mm, 1mm, 0mm))
  [Coax_1, Pin_1, Probe_1].mirror(point=(0mm, 30mm, 0mm), normal=(-1mm, 0mm, 0mm))
  Rectangle6_1.mirror(point=(0mm, 25mm, 0mm), normal=(-1mm, 0mm, 0mm))
  Feed_1.mirror(point=(0mm, 30mm, 0mm), normal=(-1mm, 0mm, 0mm))
  Circle1_1.mirror(point=(0mm, 25mm, 0mm), normal=(-1mm, 0mm, 0mm))
  GND.subtract(Circle1, Circle1_1)
  Rectangle22 = rectangle(corner=(-aa/2, -bb/2, 2*Hs), x_size=aa, y_size=bb/2)
  Rectangle22.rotate(axis=Z, angle=90deg)
  Cylinder1 [copper] = cylinder(axis=Z, base_centre=(0mm, -bb/2+off, 0mm), radius=rv, height=2*Hs)
  Cylinder1.rotate(axis=Z, angle=90deg)
  [Cylinder1, Rectangle22].move(bb_c, 0mm, 0mm)
  Rectangle22_1 = Rectangle22.duplicate_around_axis(axis=Z, angle=180deg, total=2)
  Cylinder1_1 [copper] = Cylinder1.duplicate_around_axis(axis=Z, angle=180deg, total=2)
  Rectangle6.unite(Rectangle6_1, Rectangle22, Rectangle22_1)
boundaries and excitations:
  FiniteCond1: Finite Conductivity Objects=GND UseMaterial Material=copper IsInternal
  Rad1: Radiation Objects=Box2
  FiniteCond3: Finite Conductivity Objects=Rectangle6 UseMaterial Material=copper IsInternal
  1: Lumped Port Objects=Feed Modes{Mode1{IntLine{middle of Feed.edge(1 of 1) -> middle of Pin.edge(1 of 2)} CharImp=Zpi RenormImp=50ohm}} Impedance=50ohm
  2: Lumped Port Objects=Feed_1 Modes{Mode1{IntLine{middle of Feed_1.edge(1 of 1) -> middle of Pin_1.edge(1 of 2)} CharImp=Zpi RenormImp=50ohm}} Impedance=50ohm
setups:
  Setup1: HfssDriven Frequency=5.2GHz MaxDeltaS=0.02 MaximumPasses=20 MinimumPasses=1 MinimumConvergedPasses=1 PercentRefinement=30 BasisOrder=1 PortAccuracy=2 IESolverType=ACA
    sweep Sweep: 4.8GHz to 7.2GHz step 0.04GHz; Type=Discrete SaveFields
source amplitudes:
  1:1: 1W 0deg
  2:1: 0W 0deg
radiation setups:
  Infinite Sphere1: Infinite Sphere Theta=-180deg..180deg step 2deg Phi=-180deg..180deg step 2deg
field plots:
  Mag_Jsurf2: Jsurf over Rectangle6.face(#2821, #1988, #1201, 1 of 1) on Setup1 : Sweep at Freq=5.2GHz Phase=0deg
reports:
  XY Plot 1: dB(S(1,1)), dB(S(2,1)) vs Freq on Setup1 : Sweep; markers m1 at 5.28GHz, m2 at 5.3GHz, MY1 at y=-10
  5.3 GHz: dB(RealizedGainPhi), dB(RealizedGainTheta) vs Theta on Setup1 : Sweep, Infinite Sphere1 [Phi=0deg,90deg Freq=5.3GHz]; markers m1 at 0deg, m2 at -178deg
  Realized Gain Plot 1: dB(RealizedGainTotal) vs Freq on Setup1 : Sweep, Infinite Sphere1 [Phi=0deg Theta=0deg]
  Gain Plot 2: dB(GainTotal) vs Phi, Theta on Setup1 : Sweep, Infinite Sphere1 [Freq=5.2GHz]
  Antenna Params Plot 1: dB(PeakRealizedGain) vs Freq on Setup1 : Sweep
  6.7 GHz: dB(RealizedGainPhi), dB(RealizedGainTheta) vs Theta on Setup1 : Sweep, Infinite Sphere1 [Phi=0deg,90deg Freq=6.7GHz]
  S Parameter Plot 1: dB(S(2,1)) vs Freq on Setup1 : Sweep [bb_c=0.5mm,1mm,2mm,3mm,4mm]
  S Parameter Plot 2: dB(S(1,1)) vs Freq on Setup1 : Sweep [gx1=1.6mm,1.8mm,2mm,2.4mm gx2=1.5mm]
